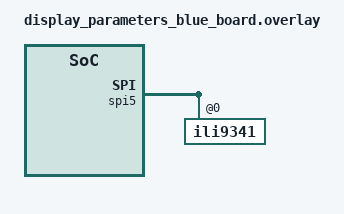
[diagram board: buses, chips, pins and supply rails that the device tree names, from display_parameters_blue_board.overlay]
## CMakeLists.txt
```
cmake_minimum_required(VERSION 3.20.0)

set(BOARD_FLASH_RUNNER "jlink")
set(BOARD "stm32f429i_disc1")

# set default overlay file
set(DTC_OVERLAY_FILE
  "MC1-Board.overlay"
)

set(DTC_OVERLAY_FILE
  "stm32f429i_disc1.overlay"
  "display_parameters_blue_board.overlay"
  "MC1-Board.overlay"
)

find_package(Zephyr REQUIRED HINTS $ENV{ZEPHYR_BASE})
project(zephyr_lab)

FILE(GLOB app_sources src/*.c)
target_sources(app PRIVATE ${app_sources})
```

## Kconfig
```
mainmenu "Application configuration parameters"

config NUM_PHIL
	int "Number of philosophers"
	default 5
	range 2 16

source "Kconfig.zephyr"
```

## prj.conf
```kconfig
# Number of philosophers
CONFIG_NUM_PHIL=5

CONFIG_TIMESLICE_SIZE=60

# Configure memory
CONFIG_MAIN_STACK_SIZE=4096

# Configure GPIO
CONFIG_GPIO=y

# Configure console (UART)
CONFIG_STDOUT_CONSOLE=y

# Configure peripherals
CONFIG_I2C=y
CONFIG_SPI=y
CONFIG_DISPLAY=y

# Configure Logging
CONFIG_LOG=y
CONFIG_LOG_MODE_IMMEDIATE=y

# Configure LVGL
CONFIG_LVGL=y
CONFIG_LV_MEM_CUSTOM=y
CONFIG_LV_USE_LOG=y
CONFIG_LV_USE_LABEL=y
CONFIG_LV_USE_BTN=y
CONFIG_LV_USE_IMG=y
CONFIG_LV_FONT_MONTSERRAT_18=y
CONFIG_LV_COLOR_DEPTH_16=y
CONFIG_LV_COLOR_16_SWAP=y
CONFIG_LV_Z_MEM_POOL_NUMBER_BLOCKS=8
CONFIG_LV_Z_HOR_RES_MAX=320
CONFIG_LV_Z_VER_RES_MAX=240
CONFIG_LV_Z_DISPLAY_DEV_NAME="ILI9341"

# Configure Tracing options
CONFIG_THREAD_NAME=y
CONFIG_SEGGER_SYSTEMVIEW=y
CONFIG_USE_SEGGER_RTT=y
CONFIG_TRACING=y
CONFIG_TRACING_SYSCALL=n

# enable for post-mortem tracing
CONFIG_SEGGER_SYSVIEW_POST_MORTEM_MODE=n

# RNG
CONFIG_TEST_RANDOM_GENERATOR=y

# For math
CONFIG_NEWLIB_LIBC=y

# CONFIG_THREAD_ANALYZER=y
# CONFIG_THREAD_ANALYZER_AUTO=y
# CONFIG_THREAD_ANALYZER_AUTO_INTERVAL=10
```

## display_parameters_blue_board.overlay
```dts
&spi5 {
	/* blue board */
	ili9341: ili9341@0 {
		rotation = <270>;
		pwctrla = [39 2C 00 34 02];
		pwctrlb = [00 F9 F7];
		disctrl = [0A 82 27];
		vmctrl1 = [49 60];
		vmctrl2 = [C0];
		enable3g = [02];
		ifctl = [01 00 00];
		ifmode = [64];
		frmctr1 = [00 18];
		pwctrl1 = [20];
		pwctrl2 = [10];
		pgamctrl = [0F 29 24 0c 0e 09 4e 78 3c 09 13 05 17 11 00];
		ngamctrl = [00 16 1b 04 11 07 31 33 42 05 0c 0a 28 2f 0f];
	};
};
```

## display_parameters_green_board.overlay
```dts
&spi5 {
	/* green board */
	ili9341: ili9341@0 {
		rotation = <270>;
		pwctrla = [39 2C 00 34 02];
		pwctrlb = [00 F9 F7];
		disctrl = [0A 82 27];
		vmctrl1 = [49 60];
		vmctrl2 = [C0];
		enable3g = [02];
		ifctl = [01 00 00];
		ifmode = [64];
		frmctr1 = [00 18];
		pwctrl1 = [33];
		pwctrl2 = [16];
		pgamctrl = [00 00 00 00 00 00 00 00 00 00 00 00 00 00 00];
		ngamctrl = [0C 23 26 04 10 04 39 24 4B 03 0B 0B 33 37 0F];
	};
};
```

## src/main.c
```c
/*******************************************************************************
 *  _____       ______   ____
 * |_   _|     |  ____|/ ____|  Institute of Embedded Systems
 *   | |  _ __ | |__  | (___    Zurich University of Applied Sciences
 *   | | | '_ \|  __|  \___ \   8401 Winterthur, Switzerland
 *  _| |_| | | | |____ ____) |
 * |_____|_| |_|______|_____/
 *
 *******************************************************************************
 *
 * Implementation of the dining philosophers problem
 *
 ******************************************************************************/

/*********************
 * SEMAPHORE VERSION
**********************/

#include <SEGGER_SYSVIEW.h>
#include <zephyr/device.h>
#include <zephyr/drivers/gpio.h>
#include <zephyr/random/rand32.h>
#include <zephyr/zephyr.h>

#include "display.h"

/* Philosopher eat time */
#define EAT_TIME 1500

/* Philosopher thinking time */
#define MAX_THINKING_TIME (EAT_TIME * 4)
#define MIN_THINKING_TIME EAT_TIME

/* Stack size for each thread in bytes */
#define STACK_SIZE 2048

/* Philosopher thread priority */
#define PRIO_PHIL 1

/* Arrays for semaphores (chopsticks) and philosopher eat counter. */
struct k_sem chopsticks[CONFIG_NUM_PHIL]; // CONFIG_NUM_PHIL defined in prj.conf
uint16_t phil_eat_count[CONFIG_NUM_PHIL];

/* Data for philosopher threads */
static K_THREAD_STACK_ARRAY_DEFINE(stacks, CONFIG_NUM_PHIL, STACK_SIZE);
static struct k_thread threads[CONFIG_NUM_PHIL];

static void philosopher(void *p1, void *p2, void *p3);
static void claim_chopstick(uint8_t n, uint8_t chopstick_id);
static void release_chopstick(uint8_t n, uint8_t chopstick_id);

void main()
{
	/* Initialize mutex (semaphores) */
	for (uint8_t n = 0; n < CONFIG_NUM_PHIL; ++n) {
		k_sem_init(&chopsticks[n], 1, 1); // init as binary semaphores
	}

	display_init();

	/* Start threads */
	for (uint8_t n = 0; n < CONFIG_NUM_PHIL; ++n) {
		k_thread_create(&threads[n], &stacks[n][0], STACK_SIZE,
		                philosopher, INT_TO_POINTER(n), NULL, NULL,
		                PRIO_PHIL, 0, K_NO_WAIT);
	}
	/*
		INT_TO_POINTER(n): 	&n points to value of n, which is different, when
							threads run. Need pointer to constant int value
	*/
	return;
}


/** --- Philosopher (entry) thread functions ------------------------------------------*/
static void philosopher(void *p1, void *p2, void *p3) // arg p1 = {0,1,2,3,4,5}, num_phil
{
	ARG_UNUSED(p2);
	ARG_UNUSED(p3);
	uint8_t n = POINTER_TO_INT(p1); // change pointer arg back to normal variable

	uint8_t left_chopstick = n;
	uint8_t right_chopstick = (n + CONFIG_NUM_PHIL - 1) % CONFIG_NUM_PHIL;

	while (1) {
		/* Philosopher thinking for a random time between MIN_THINKING_TIME and MAX_THINKING_TIME */
		display_thinking(n, true);
		k_msleep(MIN_THINKING_TIME + sys_rand32_get() % (MAX_THINKING_TIME - MIN_THINKING_TIME));	         
		display_thinking(n, false);
		/* NOTE:
			k_msleep() lets other threads run
		*/

		/* Philosopher *tries* to grab chopsticks to start eating */
		SEGGER_SYSVIEW_Print("log: left_chopstick");
		claim_chopstick(n, left_chopstick);
		// k_msleep(3000); // /!\ FORCING DEADLOCK
		SEGGER_SYSVIEW_Print("log: right_chopstick");
		claim_chopstick(n, right_chopstick);

		/* If both chopsticks acquired, philosopher starts eating */
		k_busy_wait(EAT_TIME * USEC_PER_MSEC);
		/* NOTE:
			k_busy_wait() does NOT let other threads run
		*/

		// Done eating
		release_chopstick(n, left_chopstick);
		release_chopstick(n, right_chopstick);
		
		// Update eat count after finishing eating
		phil_eat_count[n] += 1;
		display_eat_count(n, phil_eat_count[n]);
	}
}

/* --- Philosopher actions --------------------------------------------------------- */
static void claim_chopstick(uint8_t n, uint8_t chopstick_id)
{
	k_sem_take(&chopsticks[chopstick_id], K_FOREVER); 
	display_claim_chopstick(n, chopstick_id);
}

static void release_chopstick(uint8_t n, uint8_t chopstick_id)
{
	display_release_chopstick(n, chopstick_id);
	k_sem_give(&chopsticks[chopstick_id]);
}
```

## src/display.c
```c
/*******************************************************************************
 *  _____       ______   ____
 * |_   _|     |  ____|/ ____|  Institute of Embedded Systems
 *   | |  _ __ | |__  | (___    Zurich University of Applied Sciences
 *   | | | '_ \|  __|  \___ \   8401 Winterthur, Switzerland
 *  _| |_| | | | |____ ____) |
 * |_____|_| |_|______|_____/
 *
 *******************************************************************************
 *
 * Display handler for Zephyr OS demo application.
 * Does setup of display and widgets on display. Provides various functions
 * to interact with the display with minimal effort:
 *  - Pass data to chart and refresh
 *  - Pass data to "values" and display text
 *  - Pass information about switch state to display
 *
 ******************************************************************************/

#include <lvgl.h>
#include <math.h>
#include <zephyr/device.h>
#include <zephyr/drivers/display.h>
#include <zephyr/zephyr.h>

#include <zephyr/logging/log.h>
LOG_MODULE_REGISTER(display);

#include "display.h"

K_MUTEX_DEFINE(lvgl_mutex);

#define PI 3.141592

#define REFRESH_THREAD_PRIO 0
#define REFRESH_THREAD_STACKSIZE 2048

struct coordinates {
	uint16_t x;
	uint16_t y;
};

static lv_obj_t *title_label;
static lv_obj_t *phil_labels[CONFIG_NUM_PHIL];
static lv_obj_t *phil_eat_count_labels[CONFIG_NUM_PHIL];
static lv_obj_t *table;
static lv_obj_t *phils[CONFIG_NUM_PHIL];
static lv_obj_t *thinking_indicator[CONFIG_NUM_PHIL];

static lv_color_t gray = (lv_color_t)LV_COLOR_MAKE(150, 124, 38);
struct coordinates table_pos = {.x = 180, .y = 140};
static uint16_t radius = 60;
static uint16_t phil_size = 40;
static uint16_t chopstick_size = 20;

static lv_color_t phil_colors[] = {
    (lv_color_t)LV_COLOR_MAKE(255, 240, 0),   /* orange */
    (lv_color_t)LV_COLOR_MAKE(255, 0, 230),   /* red */
    (lv_color_t)LV_COLOR_MAKE(0, 255, 0),     /* green */
    (lv_color_t)LV_COLOR_MAKE(255, 255, 0),   /* yellow */
    (lv_color_t)LV_COLOR_MAKE(0, 240, 255),   /* blue */
    (lv_color_t)LV_COLOR_MAKE(240, 127, 127), /* dark red */
    (lv_color_t)LV_COLOR_MAKE(0, 240, 0),     /* dark green */
    (lv_color_t)LV_COLOR_MAKE(0, 0, 240),     /* dark blue */
    (lv_color_t)LV_COLOR_MAKE(255, 240, 0),   /* orange */
    (lv_color_t)LV_COLOR_MAKE(255, 0, 230),   /* red */
    (lv_color_t)LV_COLOR_MAKE(0, 255, 0),     /* green */
    (lv_color_t)LV_COLOR_MAKE(255, 255, 0),   /* yellow */
    (lv_color_t)LV_COLOR_MAKE(0, 240, 255),   /* blue */
    (lv_color_t)LV_COLOR_MAKE(240, 127, 127), /* dark red */
    (lv_color_t)LV_COLOR_MAKE(0, 240, 0),     /* dark green */
    (lv_color_t)LV_COLOR_MAKE(0, 0, 240),     /* dark blue */
};

BUILD_ASSERT(ARRAY_SIZE(phil_colors) >= CONFIG_NUM_PHIL,
             "Not enough philosopher colors");

static lv_obj_t *chopsticks[CONFIG_NUM_PHIL];
static lv_color_t chopstick_color = (lv_color_t)LV_COLOR_MAKE(255, 255, 255);

const struct device *display_dev = DEVICE_DT_GET(DT_CHOSEN(zephyr_display));

void display_init()
{
	if (!device_is_ready(display_dev)) {
		LOG_ERR("display device not ready");
		return;
	}

	k_mutex_lock(&lvgl_mutex, K_FOREVER);

	/*
	 * Create title
	 * Label for Thread Number is static
	 */

	/* Create title style (bigger and underlined)*/
	static lv_style_t title_style;
	lv_style_init(&title_style);
	lv_style_set_text_font(&title_style, &lv_font_montserrat_18);
	lv_style_set_text_decor(&title_style, LV_TEXT_DECOR_UNDERLINE);

	/* Title label */
	title_label = lv_label_create(lv_scr_act());
	lv_obj_add_style(title_label, &title_style, 0);

	/* Position and Text of title label */
	lv_obj_set_pos(title_label, 60, 20);
	lv_label_set_text(title_label, "Dining Philosophers:");

	/* Table */
	table = lv_obj_create(lv_scr_act());
	lv_obj_set_scrollbar_mode(table, LV_SCROLLBAR_MODE_OFF);
	lv_obj_set_size(table, 60, 60);
	lv_obj_set_pos(table, table_pos.x - 60 / 2, table_pos.y - 60 / 2);
	lv_obj_set_style_bg_color(table, gray, 0);
	lv_obj_set_style_radius(table, LV_RADIUS_CIRCLE, 0);

	for (uint8_t n = 0; n < CONFIG_NUM_PHIL; ++n) {
		float angle;

		/* Static labels for philosophers */
		phil_labels[n] = lv_label_create(lv_scr_act());

		/* Position and text of static thread labels */
		lv_obj_set_pos(phil_labels[n], 5,
		               45 + 200 / CONFIG_NUM_PHIL * n);
		char lable_text[4];
		snprintk(lable_text, ARRAY_SIZE(lable_text), "P%d:", n);
		lv_label_set_text(phil_labels[n], lable_text);

		/* Create and position labels for philosopher eat count */
		phil_eat_count_labels[n] = lv_label_create(lv_scr_act());
		lv_obj_set_pos(phil_eat_count_labels[n], 35,
		               45 + 200 / CONFIG_NUM_PHIL * n);

		/* Set default eat count value */
		lv_label_set_text_fmt(phil_eat_count_labels[n], "%d", 0);

		/* Philosopher */
		angle = (float)n * 2 * PI / CONFIG_NUM_PHIL;
		struct coordinates phil_pos = {
		    .x = table_pos.x + cos(angle) * radius,
		    .y = table_pos.y + sin(angle) * radius};
		phils[n] = lv_obj_create(lv_scr_act());
		lv_obj_move_background(phils[n]);
		lv_obj_set_scrollbar_mode(phils[n], LV_SCROLLBAR_MODE_OFF);
		lv_obj_set_size(phils[n], phil_size, phil_size);
		lv_obj_set_pos(phils[n], phil_pos.x - (phil_size / 2),
		               phil_pos.y - (phil_size / 2));
		lv_obj_set_style_bg_color(phils[n], phil_colors[n], 0);
		lv_obj_set_style_radius(phils[n], LV_RADIUS_CIRCLE, 0);

		/* Chopstick */
		angle += PI / CONFIG_NUM_PHIL;
		struct coordinates chopstick_pos = {
		    .x = table_pos.x + cos(angle) * radius * .8,
		    .y = table_pos.y + sin(angle) * radius * .8};
		chopsticks[n] = lv_obj_create(lv_scr_act());
		lv_obj_set_scrollbar_mode(chopsticks[n], LV_SCROLLBAR_MODE_OFF);
		lv_obj_set_size(chopsticks[n], chopstick_size, chopstick_size);
		lv_obj_set_pos(chopsticks[n],
		               chopstick_pos.x - (chopstick_size / 2),
		               chopstick_pos.y - (chopstick_size / 2));
		lv_obj_set_style_bg_color(chopsticks[n], chopstick_color, 0);
		lv_obj_set_style_radius(chopsticks[n], LV_RADIUS_CIRCLE, 0);

		/* Thinking indicator */
		thinking_indicator[n] = lv_obj_create(lv_scr_act());
		lv_obj_remove_style_all(thinking_indicator[n]);
		lv_obj_set_pos(thinking_indicator[n],
		               phil_pos.x - (phil_size / 2),
		               phil_pos.y - (phil_size / 2));
		lv_obj_set_size(thinking_indicator[n], phil_size, phil_size);
		lv_obj_add_flag(thinking_indicator[n], LV_OBJ_FLAG_HIDDEN);
		lv_obj_t *dot;
		dot = lv_obj_create(thinking_indicator[n]);
		lv_obj_set_size(dot, 3, 3);
		lv_obj_set_pos(dot, phil_size / 2 - 6 - 1, phil_size / 2 - 1);
		lv_obj_set_style_radius(dot, LV_RADIUS_CIRCLE, 0);
		lv_obj_set_style_border_width(dot, 0, 0);
		lv_obj_set_style_bg_color(dot, gray, 0);
		dot = lv_obj_create(thinking_indicator[n]);
		lv_obj_set_size(dot, 3, 3);
		lv_obj_set_pos(dot, phil_size / 2 - 1, phil_size / 2 - 1);
		lv_obj_set_style_radius(dot, LV_RADIUS_CIRCLE, 0);
		lv_obj_set_style_border_width(dot, 0, 0);
		lv_obj_set_style_bg_color(dot, gray, 0);
		dot = lv_obj_create(thinking_indicator[n]);
		lv_obj_set_size(dot, 3, 3);
		lv_obj_set_pos(dot, phil_size / 2 + 6 - 1, phil_size / 2 - 1);
		lv_obj_set_style_radius(dot, LV_RADIUS_CIRCLE, 0);
		lv_obj_set_style_border_width(dot, 0, 0);
		lv_obj_set_style_bg_color(dot, gray, 0);
	}

	display_blanking_off(display_dev);

	k_mutex_unlock(&lvgl_mutex);

	return;
}

int display_eat_count(uint8_t n, uint16_t count)
{
	if (n >= CONFIG_NUM_PHIL) {
		LOG_ERR("ERROR, invalid philosopher");
		return -1;
	}

	k_mutex_lock(&lvgl_mutex, K_FOREVER);
	lv_label_set_text_fmt(phil_eat_count_labels[n], "%d", count);
	k_mutex_unlock(&lvgl_mutex);

	return 0;
}

int display_thinking(uint8_t n, bool is_thinking)
{
	if (n >= CONFIG_NUM_PHIL) {
		LOG_ERR("ERROR, invalid philosopher");
		return -1;
	}

	k_mutex_lock(&lvgl_mutex, K_FOREVER);
	if (is_thinking) {
		lv_obj_clear_flag(thinking_indicator[n], LV_OBJ_FLAG_HIDDEN);
	} else {
		lv_obj_add_flag(thinking_indicator[n], LV_OBJ_FLAG_HIDDEN);
	}
	k_mutex_unlock(&lvgl_mutex);

	return 0;
}

int display_claim_chopstick(uint8_t n, uint8_t chopstick_id)
{
	if (chopstick_id >= CONFIG_NUM_PHIL || n >= CONFIG_NUM_PHIL) {
		LOG_ERR("ERROR, invalid chopstick or philosopher");
		return -1;
	}

	k_mutex_lock(&lvgl_mutex, K_FOREVER);
	lv_obj_set_style_bg_color(chopsticks[chopstick_id], phil_colors[n], 0);
	k_mutex_unlock(&lvgl_mutex);

	return 0;
}

int display_release_chopstick(uint8_t n, uint8_t chopstick_id)
{
	if (chopstick_id >= CONFIG_NUM_PHIL || n >= CONFIG_NUM_PHIL) {
		LOG_ERR("ERROR, invalid chopstick or philosopher");
		return -1;
	}

	k_mutex_lock(&lvgl_mutex, K_FOREVER);
	lv_obj_set_style_bg_color(chopsticks[chopstick_id], chopstick_color, 0);
	k_mutex_unlock(&lvgl_mutex);

	return 0;
}

static void refresh(void *p1, void *p2, void *p3)
{
	uint32_t time_till_next;
	while (true) {
		k_mutex_lock(&lvgl_mutex, K_FOREVER);
		time_till_next = lv_task_handler();
		k_mutex_unlock(&lvgl_mutex);
		k_msleep(100);
	}
}
K_THREAD_DEFINE(display_refresh, REFRESH_THREAD_STACKSIZE, refresh, NULL, NULL,
                NULL, REFRESH_THREAD_PRIO, 0, 0);
```

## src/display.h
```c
#ifndef DISPLAY_H_
#define DISPLAY_H_

#include <stdint.h>

void display_init();
int display_eat_count(uint8_t philosopher, uint16_t count);
int display_claim_chopstick(uint8_t n, uint8_t chopstick_id);
int display_release_chopstick(uint8_t n, uint8_t chopstick_id);
int display_thinking(uint8_t n, bool is_thinking);

#endif /* DISPLAY_H_ */
```
